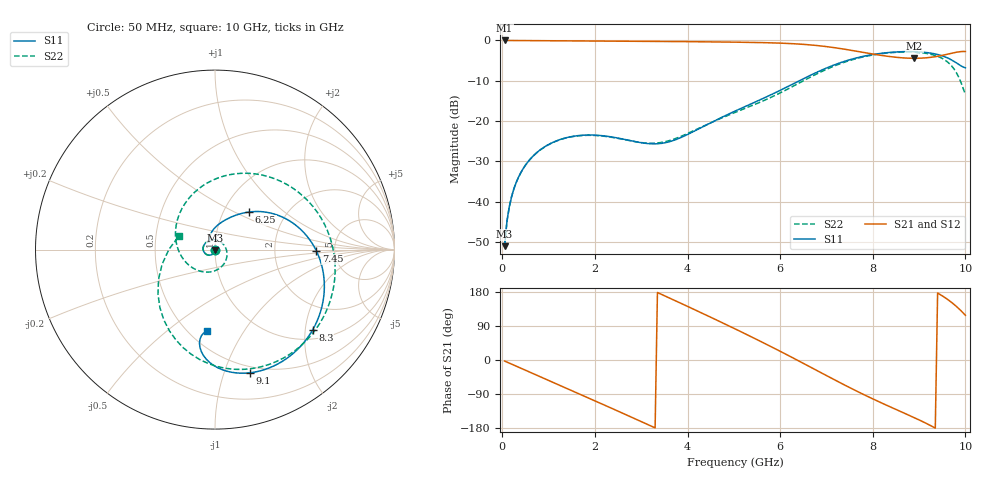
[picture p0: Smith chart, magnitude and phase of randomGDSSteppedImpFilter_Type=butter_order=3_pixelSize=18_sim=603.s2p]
! freq	dB(S11)	phase(S11)	dB(S12)	phase(S12)
!  dB(S21)	phase(S21)	dB(S22)	phase(S22)
!S-par simulation data
#  GHz  S  DB  R 50
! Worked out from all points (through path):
!   200 points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, 50 MHz to 10 GHz, reference 50 ohm
!   highest |S21| = 0.00 dB at 50 MHz (marker M1); lowest = -4.4 dB at 8.9 GHz (marker M2)
!   group delay of S21, straight-line fit = 163 ps
!   lowest |S11| = -51.0 dB at 50 MHz (marker M3), VSWR 1.01, Z = 50 - j0.28 ohm
!   |S11| at or under -10 dB: start of sweep to 6.416 GHz
!   |S22| runs from -51.1 to -2.9 dB; largest |S21 - S12| = 0
!   S11 on the Smith chart (normalised r, x): 50 MHz: 1.00, -0.01; 6.25 GHz: 1.32, +0.60; 7.45 GHz: 3.59, -0.07; 8.3 GHz: 1.24, -2.19; 9.1 GHz: 0.44, -1.23; 10 GHz: 0.61, -0.70
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0.05  -51.04 -90.2  -0.00 -2.7  -0.00 -2.7  -51.06 -90.0
0.1  -44.94 -93.3  -0.01 -5.5  -0.01 -5.5  -44.95 -93.1
0.2  -38.80 -99.3  -0.02 -10.9  -0.02 -10.9  -38.81 -98.8
0.5  -30.95 -117.1  -0.04 -27.0  -0.04 -27.0  -30.97 -115.9
1.15  -25.00 -153.8  -0.09 -61.9  -0.09 -61.9  -25.05 -152.0
1.75  -23.51 174.2  -0.13 -94.2  -0.13 -94.2  -23.58 173.7
2.65  -24.58 135.2  -0.19 -143.2  -0.19 -143.2  -24.64 113.0
3.4  -25.60 122.4  -0.24 175.3  -0.24 175.3  -25.37 42.1
4.3  -21.60 109.1  -0.33 124.4  -0.33 124.4  -21.50 -43.1
5.05  -17.41 84.7  -0.43 80.8  -0.43 80.8  -17.75 -104.9
5.7  -14.03 64.5  -0.56 41.7  -0.56 41.7  -14.66 -163.8
6.25  -10.96 47.7  -0.79 7.3  -0.79 7.3  -11.55 142.9
6.7  -8.39 31.7  -1.16 -21.7  -1.16 -21.7  -8.83 100.9
7.45  -4.96 -0.7  -2.29 -69.7  -2.29 -69.7  -5.16 38.5
7.9  -3.70 -21.4  -3.18 -96.8  -3.18 -96.8  -3.82 6.1
8.3  -3.04 -39.4  -3.90 -119.5  -3.90 -119.5  -3.13 -20.2
8.35  -2.99 -41.6  -3.98 -122.3  -3.98 -122.3  -3.08 -23.3
8.9  -2.79 -65.4  -4.43 -152.4  -4.43 -152.4  -2.92 -57.6
9.1  -2.93 -74.0  -4.36 -163.9  -4.36 -163.9  -3.12 -70.8
9.55  -4.03 -92.8  -3.58 165.4  -3.58 165.4  -4.80 -107.8
9.8  -5.53 -99.4  -2.94 142.0  -2.94 142.0  -7.89 -142.0
10  -6.82 -95.7  -2.75 118.1  -2.75 118.1  -13.40 158.5
